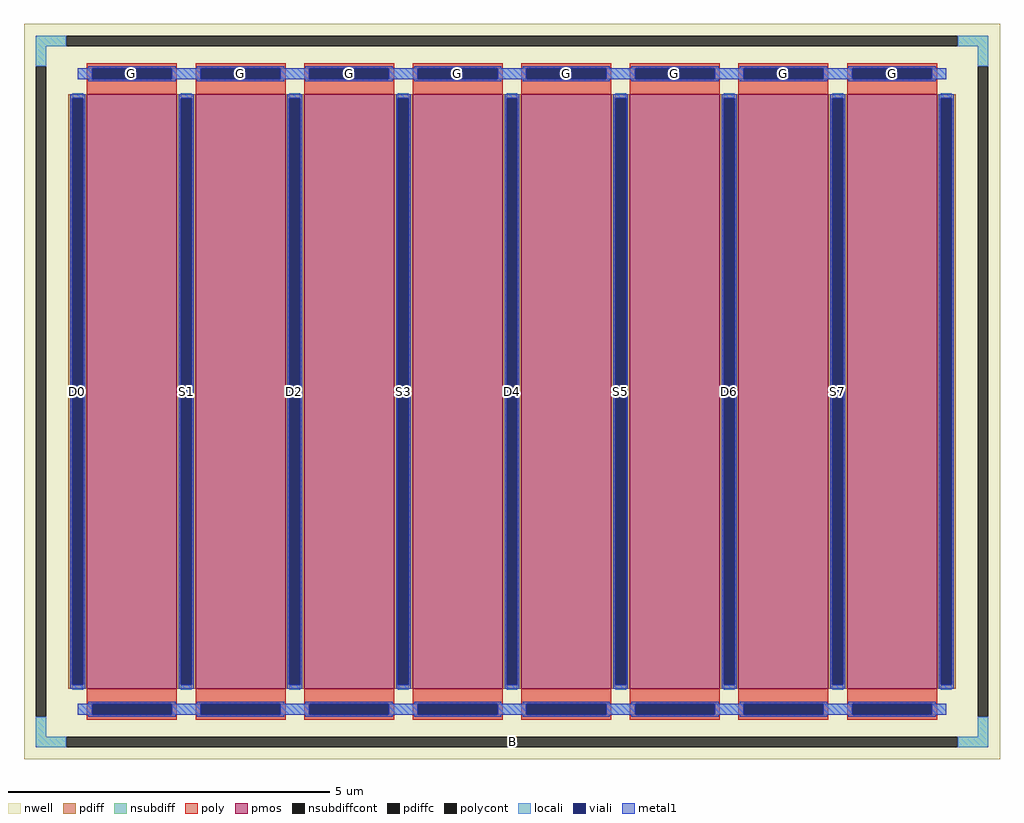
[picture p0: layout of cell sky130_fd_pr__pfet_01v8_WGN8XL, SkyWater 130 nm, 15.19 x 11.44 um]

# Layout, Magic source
magic
tech sky130A
magscale 1 2
<< nwell >>
rect -1519 -1144 1519 1144
<< pmos >>
rect -1323 -925 -1043 925
rect -985 -925 -705 925
rect -647 -925 -367 925
rect -309 -925 -29 925
rect 29 -925 309 925
rect 367 -925 647 925
rect 705 -925 985 925
rect 1043 -925 1323 925
<< pdiff >>
rect -1381 913 -1323 925
rect -1381 -913 -1369 913
rect -1335 -913 -1323 913
rect -1381 -925 -1323 -913
rect -1043 913 -985 925
rect -1043 -913 -1031 913
rect -997 -913 -985 913
rect -1043 -925 -985 -913
rect -705 913 -647 925
rect -705 -913 -693 913
rect -659 -913 -647 913
rect -705 -925 -647 -913
rect -367 913 -309 925
rect -367 -913 -355 913
rect -321 -913 -309 913
rect -367 -925 -309 -913
rect -29 913 29 925
rect -29 -913 -17 913
rect 17 -913 29 913
rect -29 -925 29 -913
rect 309 913 367 925
rect 309 -913 321 913
rect 355 -913 367 913
rect 309 -925 367 -913
rect 647 913 705 925
rect 647 -913 659 913
rect 693 -913 705 913
rect 647 -925 705 -913
rect 985 913 1043 925
rect 985 -913 997 913
rect 1031 -913 1043 913
rect 985 -925 1043 -913
rect 1323 913 1381 925
rect 1323 -913 1335 913
rect 1369 -913 1381 913
rect 1323 -925 1381 -913
<< pdiffc >>
rect -1369 -913 -1335 913
rect -1031 -913 -997 913
rect -693 -913 -659 913
rect -355 -913 -321 913
rect -17 -913 17 913
rect 321 -913 355 913
rect 659 -913 693 913
rect 997 -913 1031 913
rect 1335 -913 1369 913
<< nsubdiff >>
rect -1483 1074 -1387 1108
rect 1387 1074 1483 1108
rect -1483 1012 -1449 1074
rect 1449 1012 1483 1074
rect -1483 -1074 -1449 -1012
rect 1449 -1074 1483 -1012
rect -1483 -1108 -1387 -1074
rect 1387 -1108 1483 -1074
<< nsubdiffcont >>
rect -1387 1074 1387 1108
rect -1483 -1012 -1449 1012
rect 1449 -1012 1483 1012
rect -1387 -1108 1387 -1074
<< poly >>
rect -1323 1006 -1043 1022
rect -1323 972 -1307 1006
rect -1059 972 -1043 1006
rect -1323 925 -1043 972
rect -985 1006 -705 1022
rect -985 972 -969 1006
rect -721 972 -705 1006
rect -985 925 -705 972
rect -647 1006 -367 1022
rect -647 972 -631 1006
rect -383 972 -367 1006
rect -647 925 -367 972
rect -309 1006 -29 1022
rect -309 972 -293 1006
rect -45 972 -29 1006
rect -309 925 -29 972
rect 29 1006 309 1022
rect 29 972 45 1006
rect 293 972 309 1006
rect 29 925 309 972
rect 367 1006 647 1022
rect 367 972 383 1006
rect 631 972 647 1006
rect 367 925 647 972
rect 705 1006 985 1022
rect 705 972 721 1006
rect 969 972 985 1006
rect 705 925 985 972
rect 1043 1006 1323 1022
rect 1043 972 1059 1006
rect 1307 972 1323 1006
rect 1043 925 1323 972
rect -1323 -972 -1043 -925
rect -1323 -1006 -1307 -972
rect -1059 -1006 -1043 -972
rect -1323 -1022 -1043 -1006
rect -985 -972 -705 -925
rect -985 -1006 -969 -972
rect -721 -1006 -705 -972
rect -985 -1022 -705 -1006
rect -647 -972 -367 -925
rect -647 -1006 -631 -972
rect -383 -1006 -367 -972
rect -647 -1022 -367 -1006
rect -309 -972 -29 -925
rect -309 -1006 -293 -972
rect -45 -1006 -29 -972
rect -309 -1022 -29 -1006
rect 29 -972 309 -925
rect 29 -1006 45 -972
rect 293 -1006 309 -972
rect 29 -1022 309 -1006
rect 367 -972 647 -925
rect 367 -1006 383 -972
rect 631 -1006 647 -972
rect 367 -1022 647 -1006
rect 705 -972 985 -925
rect 705 -1006 721 -972
rect 969 -1006 985 -972
rect 705 -1022 985 -1006
rect 1043 -972 1323 -925
rect 1043 -1006 1059 -972
rect 1307 -1006 1323 -972
rect 1043 -1022 1323 -1006
<< polycont >>
rect -1307 972 -1059 1006
rect -969 972 -721 1006
rect -631 972 -383 1006
rect -293 972 -45 1006
rect 45 972 293 1006
rect 383 972 631 1006
rect 721 972 969 1006
rect 1059 972 1307 1006
rect -1307 -1006 -1059 -972
rect -969 -1006 -721 -972
rect -631 -1006 -383 -972
rect -293 -1006 -45 -972
rect 45 -1006 293 -972
rect 383 -1006 631 -972
rect 721 -1006 969 -972
rect 1059 -1006 1307 -972
<< locali >>
rect -1483 1074 -1387 1108
rect 1387 1074 1483 1108
rect -1483 1012 -1449 1074
rect 1449 1012 1483 1074
rect -1352 972 -1307 1006
rect -1059 972 -969 1006
rect -721 972 -631 1006
rect -383 972 -293 1006
rect -45 972 45 1006
rect 293 972 383 1006
rect 631 972 721 1006
rect 969 972 1059 1006
rect 1307 972 1352 1006
rect -1369 913 -1335 929
rect -1369 -929 -1335 -913
rect -1031 913 -997 929
rect -1031 -929 -997 -913
rect -693 913 -659 929
rect -693 -929 -659 -913
rect -355 913 -321 929
rect -355 -929 -321 -913
rect -17 913 17 929
rect -17 -929 17 -913
rect 321 913 355 929
rect 321 -929 355 -913
rect 659 913 693 929
rect 659 -929 693 -913
rect 997 913 1031 929
rect 997 -929 1031 -913
rect 1335 913 1369 929
rect 1335 -929 1369 -913
rect -1352 -1006 -1307 -972
rect -1059 -1006 -969 -972
rect -721 -1006 -631 -972
rect -383 -1006 -293 -972
rect -45 -1006 45 -972
rect 293 -1006 383 -972
rect 631 -1006 721 -972
rect 969 -1006 1059 -972
rect 1307 -1006 1352 -972
rect -1483 -1074 -1449 -1012
rect 1449 -1074 1483 -1012
rect -1483 -1108 -1387 -1074
rect 1387 -1108 1483 -1074
<< viali >>
rect -1307 972 -1059 1006
rect -969 972 -721 1006
rect -631 972 -383 1006
rect -293 972 -45 1006
rect 45 972 293 1006
rect 383 972 631 1006
rect 721 972 969 1006
rect 1059 972 1307 1006
rect -1369 -913 -1335 913
rect -1031 -913 -997 913
rect -693 -913 -659 913
rect -355 -913 -321 913
rect -17 -913 17 913
rect 321 -913 355 913
rect 659 -913 693 913
rect 997 -913 1031 913
rect 1335 -913 1369 913
rect -1307 -1006 -1059 -972
rect -969 -1006 -721 -972
rect -631 -1006 -383 -972
rect -293 -1006 -45 -972
rect 45 -1006 293 -972
rect 383 -1006 631 -972
rect 721 -1006 969 -972
rect 1059 -1006 1307 -972
<< metal1 >>
rect -1319 1006 -1047 1012
rect -981 1006 -709 1012
rect -643 1006 -371 1012
rect -305 1006 -33 1012
rect 33 1006 305 1012
rect 371 1006 643 1012
rect 709 1006 981 1012
rect 1047 1006 1319 1012
rect -1352 972 -1307 1006
rect -1059 972 -969 1006
rect -721 972 -631 1006
rect -383 972 -293 1006
rect -45 972 45 1006
rect 293 972 383 1006
rect 631 972 721 1006
rect 969 972 1059 1006
rect 1307 972 1352 1006
rect -1319 966 -1047 972
rect -981 966 -709 972
rect -643 966 -371 972
rect -305 966 -33 972
rect 33 966 305 972
rect 371 966 643 972
rect 709 966 981 972
rect 1047 966 1319 972
rect -1375 913 -1329 925
rect -1375 -913 -1369 913
rect -1335 -913 -1329 913
rect -1375 -925 -1329 -913
rect -1037 913 -991 925
rect -1037 -913 -1031 913
rect -997 -913 -991 913
rect -1037 -925 -991 -913
rect -699 913 -653 925
rect -699 -913 -693 913
rect -659 -913 -653 913
rect -699 -925 -653 -913
rect -361 913 -315 925
rect -361 -913 -355 913
rect -321 -913 -315 913
rect -361 -925 -315 -913
rect -23 913 23 925
rect -23 -913 -17 913
rect 17 -913 23 913
rect -23 -925 23 -913
rect 315 913 361 925
rect 315 -913 321 913
rect 355 -913 361 913
rect 315 -925 361 -913
rect 653 913 699 925
rect 653 -913 659 913
rect 693 -913 699 913
rect 653 -925 699 -913
rect 991 913 1037 925
rect 991 -913 997 913
rect 1031 -913 1037 913
rect 991 -925 1037 -913
rect 1329 913 1375 925
rect 1329 -913 1335 913
rect 1369 -913 1375 913
rect 1329 -925 1375 -913
rect -1319 -972 -1047 -966
rect -981 -972 -709 -966
rect -643 -972 -371 -966
rect -305 -972 -33 -966
rect 33 -972 305 -966
rect 371 -972 643 -966
rect 709 -972 981 -966
rect 1047 -972 1319 -966
rect -1352 -1006 -1307 -972
rect -1059 -1006 -969 -972
rect -721 -1006 -631 -972
rect -383 -1006 -293 -972
rect -45 -1006 45 -972
rect 293 -1006 383 -972
rect 631 -1006 721 -972
rect 969 -1006 1059 -972
rect 1307 -1006 1352 -972
rect -1319 -1012 -1047 -1006
rect -981 -1012 -709 -1006
rect -643 -1012 -371 -1006
rect -305 -1012 -33 -1006
rect 33 -1012 305 -1006
rect 371 -1012 643 -1006
rect 709 -1012 981 -1006
rect 1047 -1012 1319 -1006
<< labels >>
rlabel nsubdiffcont 0 -1091 0 -1091 0 B
port 1 nsew
rlabel pdiffc -1352 0 -1352 0 0 D0
port 2 nsew
rlabel polycont -1183 989 -1183 989 0 G
port 3 nsew
rlabel pdiffc -1014 0 -1014 0 0 S1
port 4 nsew
rlabel polycont -845 989 -845 989 0 G
port 3 nsew
rlabel pdiffc -676 0 -676 0 0 D2
port 5 nsew
rlabel polycont -507 989 -507 989 0 G
port 3 nsew
rlabel pdiffc -338 0 -338 0 0 S3
port 6 nsew
rlabel polycont -169 989 -169 989 0 G
port 3 nsew
rlabel pdiffc 0 0 0 0 0 D4
port 7 nsew
rlabel polycont 169 989 169 989 0 G
port 3 nsew
rlabel pdiffc 338 0 338 0 0 S5
port 8 nsew
rlabel polycont 507 989 507 989 0 G
port 3 nsew
rlabel pdiffc 676 0 676 0 0 D6
port 9 nsew
rlabel polycont 845 989 845 989 0 G
port 3 nsew
rlabel pdiffc 1014 0 1014 0 0 S7
port 10 nsew
rlabel polycont 1183 989 1183 989 0 G
port 3 nsew
<< properties >>
string FIXED_BBOX -1466 -1091 1466 1091
string gencell sky130_fd_pr__pfet_01v8
string library sky130
string parameters w 9.25 l 1.4 m 1 nf 8 diffcov 100 polycov 100 guard 1 glc 1 grc 1 gtc 1 gbc 1 tbcov 100 rlcov 100 topc 1 botc 1 poverlap 0 doverlap 1 lmin 0.15 wmin 0.42 class mosfet compatible {sky130_fd_pr__pfet_01v8  sky130_fd_pr__pfet_01v8_lvt sky130_fd_pr__pfet_01v8_hvt  sky130_fd_pr__pfet_g5v0d10v5} full_metal 1 conn_gates 1 viasrc 100 viadrn 100 viagate 100 viagb 0 viagr 0 viagl 0 viagt 0 doports 1
<< end >>
